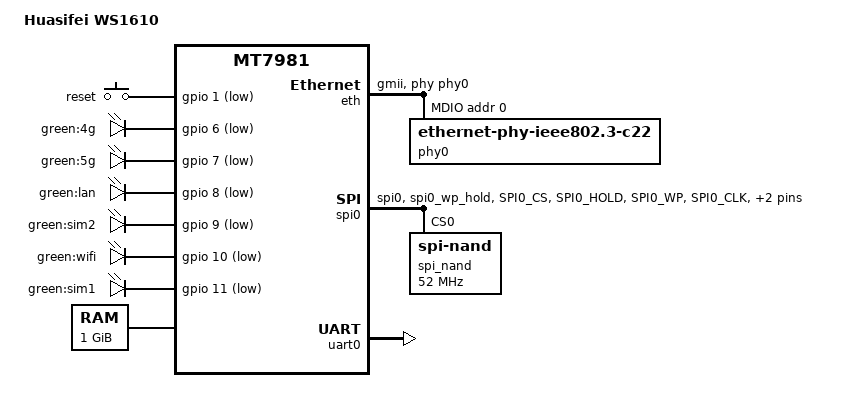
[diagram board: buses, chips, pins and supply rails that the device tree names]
// SPDX-License-Identifier: GPL-2.0-or-later OR MIT

/dts-v1/;
#include "mt7981.dtsi"
#include <dt-bindings/gpio/gpio.h>

/ {
	#address-cells = <1>;
	#size-cells = <1>;
	model = "Huasifei WS1610";
	compatible = "mediatek,mt7981", "mediatek,mt7981-rfb";

	chosen {
		stdout-path = &uart0;
		tick-timer = &timer0;
	};

	config {
		bootcmd = "mtkboardboot";
		blink_led = "green:sim2";
		system_led = "green:sim1";
	};

	gpio-keys {
		compatible = "gpio-keys";

		button-reset {
			label = "reset";
			linux,code = <KEY_RESTART>;
			gpios = <&gpio 1 GPIO_ACTIVE_LOW>;
		};
	};

	gpio-leds {
		compatible = "gpio-leds";

		led-4g {
			label = "green:4g";
			gpios = <&gpio 6 GPIO_ACTIVE_LOW>;
		};

		led-5g {
			label = "green:5g";
			gpios = <&gpio 7 GPIO_ACTIVE_LOW>;
		};

		led-lan {
			label = "green:lan";
			gpios = <&gpio 8 GPIO_ACTIVE_LOW>;
		};

		led-sim2 {
			label = "green:sim2";
			gpios = <&gpio 9 GPIO_ACTIVE_LOW>;
		};

		led-wifi {
			label = "green:wifi";
			gpios = <&gpio 10 GPIO_ACTIVE_LOW>;
		};

		led-sim1 {
			label = "green:sim1";
			gpios = <&gpio 11 GPIO_ACTIVE_LOW>;
		};
	};

	memory@40000000 {
		device_type = "memory";
		reg = <0x40000000 0x40000000>;
	};

	bl2_verify {
		bl2_compatible = "spim-nand";
	};
};

&eth {
	status = "okay";
	mediatek,gmac-id = <1>;
	phy-mode = "gmii";
	phy-handle = <&phy0>;

	mdio {
		phy0: ethernet-phy@0 {
			compatible = "ethernet-phy-ieee802.3-c22";
			reg = <0>;
			phy-mode = "gmii";
			phy-is-integrated;
		};
	};
};

&pinctrl {
	spi_flash_pins: spi0-pins-func-1 {
		mux {
			function = "flash";
			groups = "spi0", "spi0_wp_hold";
		};

		conf-pu {
			pins = "SPI0_CS", "SPI0_HOLD", "SPI0_WP";
			drive-strength = <MTK_DRIVE_8mA>;
			bias-pull-up = <MTK_PUPD_SET_R1R0_11>;
		};

		conf-pd {
			pins = "SPI0_CLK", "SPI0_MOSI", "SPI0_MISO";
			drive-strength = <MTK_DRIVE_8mA>;
			bias-pull-down = <MTK_PUPD_SET_R1R0_11>;
		};
	};
};

&spi0 {
	#address-cells = <1>;
	#size-cells = <0>;
	pinctrl-names = "default";
	pinctrl-0 = <&spi_flash_pins>;
	status = "okay";
	must_tx;
	enhance_timing;
	dma_ext;
	ipm_design;
	support_quad;
	tick_dly = <2>;
	sample_sel = <0>;

	spi_nand@0 {
		compatible = "spi-nand";
		reg = <0>;
		spi-max-frequency = <52000000>;
	};
};

&uart0 {
	status = "okay";
};

&watchdog {
	status = "disabled";
};
